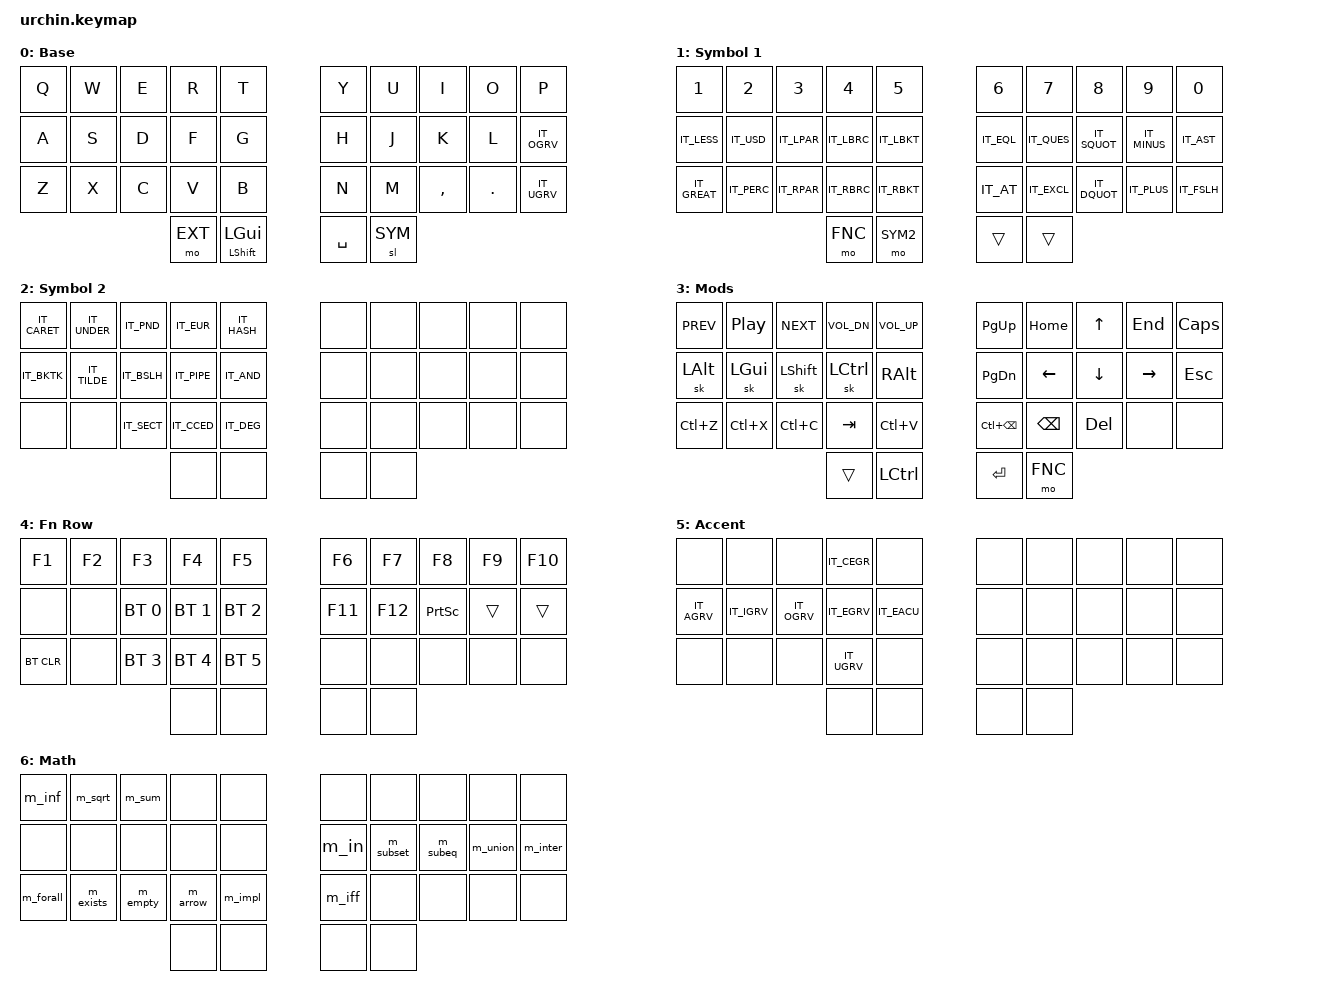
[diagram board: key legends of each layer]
/*
 * Copyright (c) 2020 duckyb
 *
 * SPDX-License-Identifier: MIT
 */

#include <behaviors.dtsi>
#include <dt-bindings/zmk/keys.h>
#include <dt-bindings/zmk/bt.h>
#include <dt-bindings/zmk/outputs.h>
#include "keymap_italian.h"

// Layer definitions
#define BASE 0
#define SYM 1
#define SYM2 2
#define EXT 3
#define FNC 4
#define ACCENT 5
#define MATH 6
// -----------------

&sk {
    // don't release mods on other mods presses
    ignore-modifiers;
};


/ {
    behaviors {
        // Enables holding the first mod-tap key
        // by performing a tap-release-hold sequence.
        // To use it: "&qt KEYCODE1 KEYCODE2"
        qt: quick_tap {
            compatible = "zmk,behavior-hold-tap";
            label = "QUICK_TAP";
            #binding-cells = <2>;
            flavor = "hold-preferred";
            tapping-term-ms = <200>;
            quick-tap-ms = <200>;
            bindings = <&kp>, <&kp>;
        };
    };

    macros {
        // sometimes my device thinks a modifier is being held down
        // pressing all modifiers fixes it.
        unstick: unstick {
            label = "ZM_unstick";
            compatible = "zmk,behavior-macro";
            #binding-cells = <0>;
            bindings = <&kp LSHIFT &kp RSHIFT &kp LCTRL &kp RCTRL &kp LALT &kp RALT &kp LGUI &kp RGUI>;
        };

        // LaTeX macros
        m_forall: m_forall {
            compatible = "zmk,behavior-macro";
            wait-ms = <1>;
            tap-ms = <1>;
            #binding-cells = <0>;
            bindings = <&kp IT_BSLH &kp F &kp O &kp R &kp A &kp L &kp L &kp SPACE>;
        };
        m_exists: m_exists {
            compatible = "zmk,behavior-macro";
            wait-ms = <1>;
            tap-ms = <1>;
            #binding-cells = <0>;
            bindings = <&kp IT_BSLH &kp E &kp X &kp I &kp S &kp T &kp S &kp SPACE>;
        };
        m_empty: m_empty {
            compatible = "zmk,behavior-macro";
            wait-ms = <1>;
            tap-ms = <1>;
            #binding-cells = <0>;
            bindings = <&kp IT_BSLH &kp E &kp M &kp P &kp T &kp Y &kp S &kp E &kp T &kp SPACE>;
        };
        m_in: m_in {
            compatible = "zmk,behavior-macro";
            wait-ms = <1>;
            tap-ms = <1>;
            #binding-cells = <0>;
            bindings = <&kp IT_BSLH &kp I &kp N &kp SPACE>;
        };
        m_union: m_union {
            compatible = "zmk,behavior-macro";
            wait-ms = <1>;
            tap-ms = <1>;
            #binding-cells = <0>;
            bindings = <&kp IT_BSLH &kp C &kp U &kp P &kp SPACE>;
        };
        m_inter: m_inter {
            compatible = "zmk,behavior-macro";
            wait-ms = <1>;
            tap-ms = <1>;
            #binding-cells = <0>;
            bindings = <&kp IT_BSLH &kp C &kp A &kp P &kp SPACE>;
        };
        m_subset: m_subset {
            compatible = "zmk,behavior-macro";
            wait-ms = <1>;
            tap-ms = <1>;
            #binding-cells = <0>;
            bindings = <&kp IT_BSLH &kp S &kp U &kp B &kp S &kp E &kp T &kp SPACE>;
        };
        m_subeq: m_subeq {
            compatible = "zmk,behavior-macro";
            wait-ms = <1>;
            tap-ms = <1>;
            #binding-cells = <0>;
            bindings = <&kp IT_BSLH &kp S &kp U &kp B &kp S &kp E &kp T &kp E &kp Q &kp SPACE>;
        };
        m_impl: m_impl {
            compatible = "zmk,behavior-macro";
            wait-ms = <1>;
            tap-ms = <1>;
            #binding-cells = <0>;
            bindings = <&kp IT_BSLH &kp I &kp M &kp P &kp L &kp I &kp E &kp S &kp SPACE>;
        };
        m_iff: m_iff {
            compatible = "zmk,behavior-macro";
            wait-ms = <1>;
            tap-ms = <1>;
            #binding-cells = <0>;
            bindings = <&kp IT_BSLH &kp I &kp F &kp F &kp SPACE>;
        };
        m_arrow: m_arrow {
            compatible = "zmk,behavior-macro";
            wait-ms = <1>;
            tap-ms = <1>;
            #binding-cells = <0>;
            bindings = <&kp IT_BSLH &kp T &kp O &kp SPACE>;
        };
        m_inf: m_inf {
            compatible = "zmk,behavior-macro";
            wait-ms = <1>;
            tap-ms = <1>;
            #binding-cells = <0>;
            bindings = <&kp O &kp O &kp O>;
        };
        m_sqrt: m_sqrt {
            compatible = "zmk,behavior-macro";
            wait-ms = <1>;
            tap-ms = <1>;
            #binding-cells = <0>;
            bindings = <&kp R &kp T>;
        };
        m_sum: m_sum {
            compatible = "zmk,behavior-macro";
            wait-ms = <1>;
            tap-ms = <1>;
            #binding-cells = <0>;
            bindings = <&kp S &kp U &kp M>;
        };
    };

    combos {
        compatible = "zmk,combos";
        // both right thumb keys
        combo_accent {
            timeout-ms = <200>;
            key-positions = <32 33>;
            bindings = <&mo ACCENT>;
        };
        // internal-left & external-right thumb keys
        combo_sym2 {
            timeout-ms = <200>;
            key-positions = <31 33>;
            bindings = <&mo SYM2>;
        };
        // both inner thumb keys: math symbols
        combo_math {
            timeout-ms = <200>;
            key-positions = <31 32>;
            bindings = <&mo MATH>;
        };
        // left index & middle fingers (home-row)
        // hold control & space for Adobe workflow
        combo_ctrl_space {
            timeout-ms = <200>;
            key-positions = <12 13>;
            bindings = <&kp LC(SPACE)>;
            layers = <BASE>;
        };
    };

    keymap {
        compatible = "zmk,keymap";
        // Base alpha layer
        default_layer {
            label = "Base";
            bindings = <
            &kp Q &kp W &kp E 	&kp R 	&kp T           			&kp Y 		&kp U  &kp I     &kp O   	&kp P
            &kp A &kp S &kp D 	&kp F 	&kp G           			&kp H 		&kp J  &kp K     &kp L 		&kp IT_OGRV
            &kp Z &kp X &kp C 	&kp V 	&kp B           			&kp N 		&kp M  &kp COMMA &kp DOT 	&kp IT_UGRV
                                &mo EXT &qt LSHIFT LGUI           	&kp SPACE 	&sl SYM
            >;
        };

        // Numbers and high frequency symbols
        sym_layer {
            label = "Symbol 1";
            bindings = <
            &kp N1 &kp N2 &kp N3 &kp N4 &kp N5		                                    		&kp N6 		&kp N7 		&kp N8 			&kp N9 			&kp N0
            &kp IT_LESS &kp IT_USD &kp IT_LPAR 		&kp IT_LBRC 	&kp IT_LBKT  				&kp IT_EQL 	&kp IT_QUES &kp IT_SQUOT 	&kp IT_MINUS 	&kp IT_AST
            &kp IT_GREAT &kp IT_PERC &kp IT_RPAR 	&kp IT_RBRC 	&kp IT_RBKT 				&kp IT_AT 	&kp IT_EXCL &kp IT_DQUOT 	&kp IT_PLUS 	&kp IT_FSLH
                                                    &mo FNC  		&mo SYM2       				&trans 		&trans
            >;
        };

        // Low frequency symbols.
        symbols_2_layer {
            label = "Symbol 2";
            bindings = <
            &kp IT_CARET &kp IT_UNDER &kp IT_PND &kp IT_EUR &kp IT_HASH         		&none &none &none &none &none
            &kp IT_BKTK &kp IT_TILDE &kp IT_BSLH &kp IT_PIPE &kp IT_AND         		&none &none &none &none &none
            &none 			&none 			 &kp IT_SECT &kp IT_CCED &kp IT_DEG			&none &none &none &none &none
                                                                    &none &none        	&none &none
            >;
        };

        // Main modifiers and arrow keys
        ext_layer {
            label = "Mods";
            bindings = <
            &kp C_PREV &kp C_PP &kp C_NEXT  &kp C_VOL_DN  	&kp C_VOL_UP    	&kp PG_UP    &kp HOME   &kp UP      &kp END     &kp CAPS
            &sk LALT &sk LGUI  &sk LSHIFT  	&sk LCTRL  		&kp RALT 			&kp PG_DN    &kp LEFT   &kp DOWN    &kp RIGHT   &kp ESC
            &kp LC(Z)  &kp LC(X) &kp LC(C) 	&kp TAB   		&kp LC(V)          	&kp LC(BSPC) &kp BSPC   &kp DEL     &none       &none
                                            &trans 			&kp LCTRL    		&kp ENTER    &mo FNC
            >;
        };

        // Function keys with modifiers and settings.
        fnc_layer {
            label = "Fn Row";
            bindings = <
            &kp F1      &kp F2  &kp F3 &kp F4 &kp F5                                &kp F6 &kp F7 &kp F8 &kp F9 &kp F10
            &none       &none   &bt BT_SEL 0    &bt BT_SEL 1    &bt BT_SEL 2        &kp F11 &kp F12  &kp PRINTSCREEN &trans &trans
            &bt BT_CLR  &none   &bt BT_SEL 3    &bt BT_SEL 4    &bt BT_SEL 5		&none &none &none &none &none
                                                &none           &none               &none &none
            >;
        };

        // Used to type regional accents.
        accent_layer {
            label = "Accent";
            bindings = <
            &none &none &none &kp IT_CEGR &none                         &none &none &none &none &none
            &kp IT_AGRV &kp IT_IGRV &kp IT_OGRV &kp IT_EGRV &kp IT_EACU &none &none &none &none &none
            &none &none &none &kp IT_UGRV &none                         &none &none &none &none &none
                                    &none &none                         &none &none
            >;
        };

        // LaTeX macros
        math_layer {
            label = "Math";
            bindings = <
            &m_inf 		&m_sqrt 	&m_sum 		&none 		&none           	&none   &none 		&none 	    &none 		&none
            &none 		&none 		&none 		&none 		&none               &m_in 	&m_subset 	&m_subeq 	&m_union 	&m_inter
            &m_forall	&m_exists 	&m_empty 	&m_arrow 	&m_impl  			&m_iff 	&none		&none 		&none 		&none
                                                &none 		&none               &none 	&none
            >;
        };
    };
};
